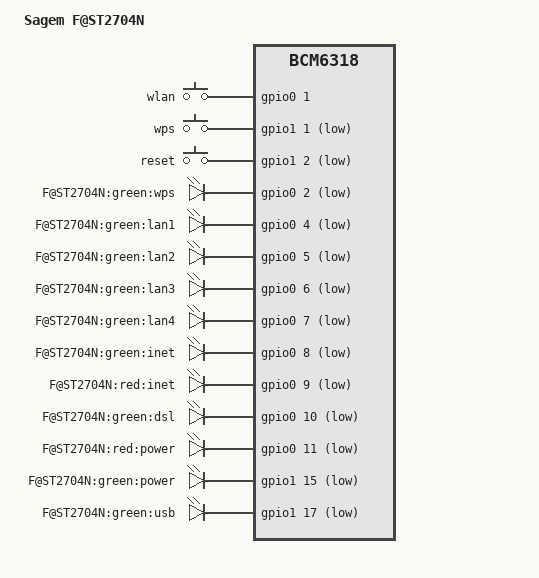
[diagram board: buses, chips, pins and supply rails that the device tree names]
/dts-v1/;

#include "bcm6318.dtsi"

#include <dt-bindings/input/input.h>

/ {
	model = "Sagem F@ST2704N";
	compatible = "sagem,f@st2704n", "brcm,bcm6318";

	gpio-keys-polled {
		compatible = "gpio-keys-polled";
		#address-cells = <1>;
		#size-cells = <0>;
		poll-interval = <20>;
		debounce-interval = <60>;

		wlan {
			label = "wlan";
			gpios = <&gpio0 1 0>;
			linux,code = <KEY_WLAN>;
		};
		wps {
			label = "wps";
			gpios = <&gpio1 1 1>;
			linux,code = <KEY_WPS_BUTTON>;
		};
		reset {
			label = "reset";
			gpios = <&gpio1 2 1>;
			linux,code = <KEY_RESTART>;
		};
	};

	gpio-leds {
		compatible = "gpio-leds";

		wps_green {
			label = "F@ST2704N:green:wps";
			gpios = <&gpio0 2 1>;
		};
		lan1_green {
			label = "F@ST2704N:green:lan1";
			gpios = <&gpio0 4 1>;
		};
		lan2_green {
			label = "F@ST2704N:green:lan2";
			gpios = <&gpio0 5 1>;
		};
		lan3_green {
			label = "F@ST2704N:green:lan3";
			gpios = <&gpio0 6 1>;
		};
		lan4_green {
			label = "F@ST2704N:green:lan4";
			gpios = <&gpio0 7 1>;
		};
		inet_green {
			label = "F@ST2704N:green:inet";
			gpios = <&gpio0 8 1>;
		};
		inet_red {
			label = "F@ST2704N:red:inet";
			gpios = <&gpio0 9 1>;
		};
		dsl_green {
			label = "F@ST2704N:green:dsl";
			gpios = <&gpio0 10 1>;
		};
		power_red {
			label = "F@ST2704N:red:power";
			gpios = <&gpio0 11 1>;
		};
		power_green {
			label = "F@ST2704N:green:power";
			gpios = <&gpio1 15 1>;
			default-state = "on";
		};
		usb_green {
			label = "F@ST2704N:green:usb";
			gpios = <&gpio1 17 1>;
		};
	};
};
